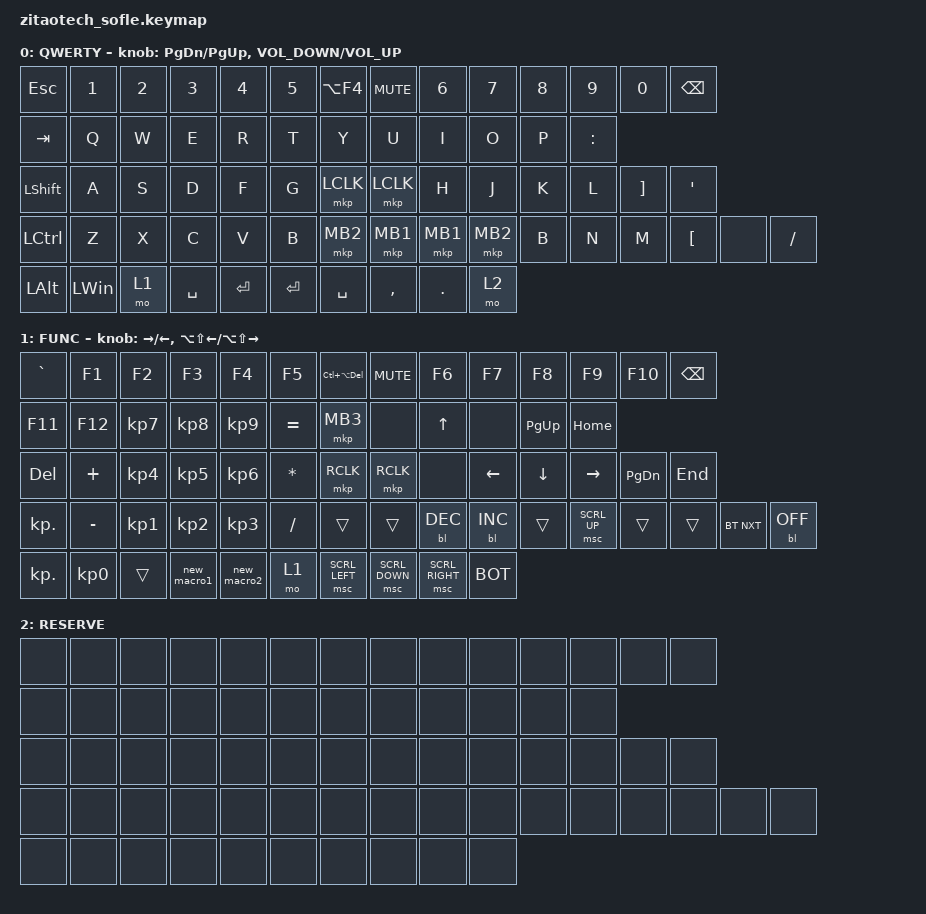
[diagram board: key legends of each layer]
/*
 * Copyright (c) 2025 ZitaoTech
 *
 * SPDX-License-Identifier: MIT
 */

#include <dt-bindings/zmk/mouse.h>
#include <behaviors.dtsi>
#include <dt-bindings/zmk/backlight.h>
#include <dt-bindings/zmk/bt.h>
#include <dt-bindings/zmk/keys.h>
#include <dt-bindings/zmk/pointing.h>

#define FUNC 1
#define RES 2
#define BOT bootloader

/ {
    behaviors {
        td0: tap_dance_0 {
            compatible = "zmk,behavior-tap-dance";
            #binding-cells = <0>;
            tapping-term-ms = <400>;
            bindings = <&mkp LCLK>, <&bt BT_CLR>;
        };
    };

    behaviors {
        hm: homerow_mods {
            compatible = "zmk,behavior-hold-tap";
            #binding-cells = <2>;
            tapping-term-ms = <500>;
            bindings = <&kp &kp>;
        };
    };

    behaviors {
        sp_sc: behavior_spacescroll {
            compatible = "zmk,behavior-hold-tap";
            #binding-cells = <2>;
            flavor = "tap-preferred";     /* 单击优先 */
            tapping-term-ms = <200>;       /* 长按阈值 */
            bindings = <&none &kp>;        /* hold=none, tap=space */
        };
    };

    behaviors {
        BLE_encoder: BLE_encoder {
            compatible = "zmk,behavior-sensor-rotate";
            #sensor-binding-cells = <0>;
            bindings = <&bt BT_NXT>, <&bt BT_PRV>;
        };
    };

    macros {
        new_macro1: new_macro1 {
            compatible = "zmk,behavior-macro";
            #binding-cells = <0>;
            bindings = <&kp LEFT_ALT &kp O &kp P>;
            label = "NEW_MACRO1";
        };

        new_macro2: new_macro2 {
            compatible = "zmk,behavior-macro";
            #binding-cells = <0>;
            bindings = <&kp LEFT_ALT &kp N &kp P &kp D>;
            label = "NEW_MACRO2";
        };

        new_macro3: new_macro3 {
            compatible = "zmk,behavior-macro";
            #binding-cells = <0>;
            bindings =
                <&kp LEFT_ALT>,
                <&macro_press>,
                <&kp KP_NUMBER_4 &kp KP_NUMBER_1 &kp KP_NUMBER_4 &kp KP_NUMBER_3 &kp KP_NUMBER_6>,
                <&macro_press>;

            label = "NEW_MACRO3";
        };
    };

    keymap {
        compatible = "zmk,keymap";

        default_layer {
            display-name = "QWERTY";
            bindings = <
&kp ESC         &kp N1        &kp N2  &kp N3     &kp N4     &kp N5     &kp LA(F4)  &kp C_MUTE  &kp N6      &kp N7    &kp N8  &kp N9     &kp N0             &kp BSPC
&kp TAB         &kp Q         &kp W   &kp E      &kp R      &kp T      &kp Y       &kp U       &kp I       &kp O     &kp P   &kp COLON
&kp LEFT_SHIFT  &kp A         &kp S   &kp D      &kp F      &kp G      &mkp LCLK   &mkp LCLK   &kp H       &kp J     &kp K   &kp L      &kp RIGHT_BRACKET  &kp APOS
&kp LCTRL       &kp Z         &kp X   &kp C      &kp V      &kp B      &mkp MB2    &mkp MB1    &mkp MB1    &mkp MB2  &kp B   &kp N      &kp M              &kp LEFT_BRACKET  &none  &kp FSLH
&kp LEFT_ALT    &kp LEFT_WIN  &mo 1   &kp SPACE  &kp ENTER  &kp ENTER  &kp SPACE   &kp COMMA   &kp PERIOD  &mo 2
            >;

            sensor-bindings =
                <&inc_dec_kp PAGE_DOWN PAGE_UP>,
                <&inc_dec_kp C_VOLUME_DOWN C_VOLUME_UP>;
        };

        func_layer {
            display-name = "FUNC";
            bindings = <
&kp GRAVE   &kp F1     &kp F2           &kp F3           &kp F4           &kp F5     &kp LC(LA(DEL))  &kp C_MUTE      &kp F6           &kp F7      &kp F8       &kp F9        &kp F10        &kp BSPC
&kp F11     &kp F12    &kp KP_NUMBER_7  &kp KP_NUMBER_8  &kp KP_NUMBER_9  &kp EQUAL  &mkp MB3         &none           &kp UP           &none       &kp PAGE_UP  &kp HOME
&kp DELETE  &kp PLUS   &kp KP_NUMBER_4  &kp KP_NUMBER_5  &kp KP_NUMBER_6  &kp ASTRK  &mkp RCLK        &mkp RCLK       &none            &kp LEFT    &kp DOWN     &kp RIGHT     &kp PAGE_DOWN  &kp END
&kp KP_DOT  &kp MINUS  &kp KP_NUMBER_1  &kp KP_NUMBER_2  &kp KP_NUMBER_3  &kp SLASH  &trans           &trans          &bl BL_DEC       &bl BL_INC  &trans       &msc SCRL_UP  &trans         &trans    &bt BT_NXT  &bl BL_OFF
&kp KP_DOT  &kp KP_N0  &trans           &new_macro1      &new_macro2      &mo 1      &msc SCRL_LEFT   &msc SCRL_DOWN  &msc SCRL_RIGHT  &BOT
            >;

            sensor-bindings =
                <&inc_dec_kp RIGHT LEFT>,
                <&inc_dec_kp LA(LS(LEFT)) LA(LS(RIGHT))>;
        };

        RES_layer {
            display-name = "RESERVE";
            bindings = <
&none  &none  &none  &none  &none  &none  &none  &none  &none  &none  &none  &none  &none  &none
&none  &none  &none  &none  &none  &none  &none  &none  &none  &none  &none  &none
&none  &none  &none  &none  &none  &none  &none  &none  &none  &none  &none  &none  &none  &none
&none  &none  &none  &none  &none  &none  &none  &none  &none  &none  &none  &none  &none  &none  &none  &none
&none  &none  &none  &none  &none  &none  &none  &none  &none  &none
            >;
        };
    };
};
